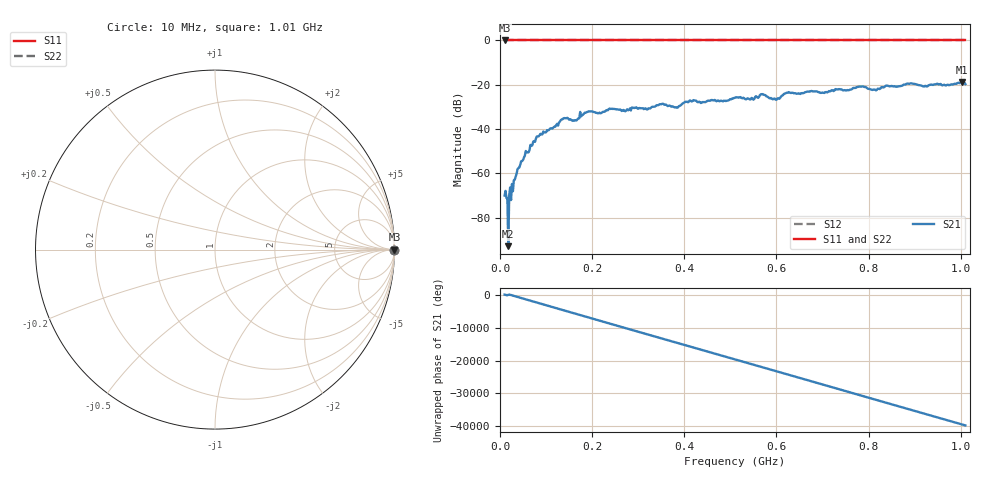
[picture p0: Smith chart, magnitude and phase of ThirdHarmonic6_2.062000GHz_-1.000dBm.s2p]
! 8/17/2025 12:42:41 AM
! C:\ANRITSUVNA\TEMP\TEMP.S2P
! CHANNEL.1
! TR.MEASUREMENT
! RAW.DATA
! RF.CORRECTION.OFF
! AVERAGING.OFF
! IF.BANDWIDTH: 5KHZ
! SWEEPTYPE:  FREQ.SWEEP(Linear)
! Reference Plane Port Info
! PORT:  PORT1  PORT2
! DISTANCE:  0  m  0  m
! TIME:  0  s  0  s
! PHASE.OFFSET:  0  deg.  0  deg.
! LOSS:  0  dB  0  dB
! REF.LOSS:  0  dB  0  dB
! REF.FREQ:  0  Hz  0  Hz
! Power Info
! POWER:  -20  dBm  -20  dBm
! EFF.POWER:  -20  dBm  -20  dBm
! SOURCE.ATTEN:  0  dB  0  dB
! TEST.ATTEN:  0  dB  0  dB
# GHZ S RI R 50.0
! FREQ.GHZ  S11RE  S11IM  S21RE  S21IM  S12RE  S12IM  S22RE  S22IM
!; PortSelection: Port_12
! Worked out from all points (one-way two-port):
!   501 points, 10 MHz to 1.01 GHz, reference 50 ohm
!   highest |S21| = -18.71 dB at 1.002 GHz (marker M1); lowest = -92.9 dB at 18 MHz (marker M2)
!   lowest |S11| = 0.0 dB at 10 MHz (marker M3)
!   |S11| at or under -10 dB: nowhere
!   |S22| runs from 0.0 to 0.0 dB; largest |S21 - S12| = 1.1
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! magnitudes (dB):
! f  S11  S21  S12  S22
! 10 MHz  0.0  -70.0  0.0  0.0
! 18 MHz  0.0  -92.9  0.0  0.0
! 20 MHz  0.0  -70.0  0.0  0.0
! 42 MHz  0.0  -57.3  0.0  0.0
! 82 MHz  0.0  -43.3  0.0  0.0
! 136 MHz  0.0  -35.6  0.0  0.0
! 162 MHz  0.0  -36.2  0.0  0.0
! 178 MHz  0.0  -33.8  0.0  0.0
! 344 MHz  0.0  -29.2  0.0  0.0
! 382 MHz  0.0  -30.1  0.0  0.0
! 416 MHz  0.0  -27.6  0.0  0.0
! 510 MHz  0.0  -25.8  0.0  0.0
! 546 MHz  0.0  -25.9  0.0  0.0
! 570 MHz  0.0  -24.3  0.0  0.0
! 602 MHz  0.0  -26.1  0.0  0.0
! 624 MHz  0.0  -23.6  0.0  0.0
! 678 MHz  0.0  -22.9  0.0  0.0
! 784 MHz  0.0  -20.9  0.0  0.0
! 814 MHz  0.0  -22.2  0.0  0.0
! 844 MHz  0.0  -20.6  0.0  0.0
! 1.002 GHz  0.0  -18.7  0.0  0.0
! 1.01 GHz  0.0  -19.7  0.0  0.0
